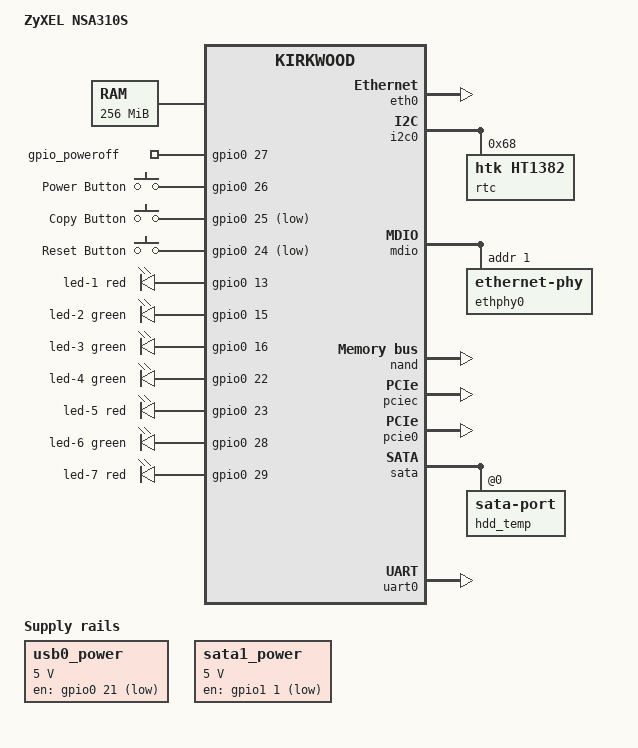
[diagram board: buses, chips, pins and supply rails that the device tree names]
// SPDX-License-Identifier: (GPL-2.0+ OR MIT)
/*
 * ZyXEL NSA310S Board Description
 * Copyright 2020-2022 Pawel Dembicki <paweldembicki@gmail.com>
 * Copyright (c) 2015-2021, Tony Dinh <mibodhi@gmail.com>
 * Copyright (c) 2014, Adam Baker <linux@baker-net.org.uk>
 * Based upon the board setup file created by Peter Schildmann
 */
/dts-v1/;

#include "kirkwood.dtsi"
#include "kirkwood-6281.dtsi"
#include <dt-bindings/leds/common.h>

/ {
	model = "ZyXEL NSA310S";
	compatible = "zyxel,nsa310s", "marvell,kirkwood-88f6702", "marvell,kirkwood";

	memory {
		device_type = "memory";
		reg = <0x00000000 0x10000000>;
	};

	chosen {
		bootargs = "console=ttyS0,115200n8 earlyprintk";
		stdout-path = &uart0;
	};

	gpio_poweroff {
		compatible = "gpio-poweroff";
		pinctrl-0 = <&pmx_pwr_off>;
		pinctrl-names = "default";
		gpios = <&gpio0 27 GPIO_ACTIVE_HIGH>;
	};

	keys {
		compatible = "gpio-keys";
		pinctrl-0 = <&pmx_buttons>;
		pinctrl-names = "default";

		button-power {
			label = "Power Button";
			linux,code = <KEY_POWER>;
			gpios = <&gpio0 26 GPIO_ACTIVE_HIGH>;
		};

		button-copy {
			label = "Copy Button";
			linux,code = <KEY_COPY>;
			gpios = <&gpio0 25 GPIO_ACTIVE_LOW>;
		};

		button-reset {
			label = "Reset Button";
			linux,code = <KEY_RESTART>;
			gpios = <&gpio0 24 GPIO_ACTIVE_LOW>;
		};
	};

	leds {
		compatible = "gpio-leds";
		pinctrl-0 = <&pmx_leds>;
		pinctrl-names = "default";

		led-1 {
			function = LED_FUNCTION_DISK_ERR;
			color = <LED_COLOR_ID_RED>;
			gpios = <&gpio0 13 GPIO_ACTIVE_HIGH>;
		};

		led-2 {
			function = LED_FUNCTION_USB;
			color = <LED_COLOR_ID_GREEN>;
			gpios = <&gpio0 15 GPIO_ACTIVE_HIGH>;
			linux,default-trigger = "usb-host";
		};

		led-3 {
			function = LED_FUNCTION_DISK;
			color = <LED_COLOR_ID_GREEN>;
			gpios = <&gpio0 16 GPIO_ACTIVE_HIGH>;
			linux,default-trigger = "ata1";
		};

		led-4 {
			function = LED_FUNCTION_INDICATOR;
			color = <LED_COLOR_ID_GREEN>;
			gpios = <&gpio0 22 GPIO_ACTIVE_HIGH>;
		};

		led-5 {
			function = LED_FUNCTION_INDICATOR;
			color = <LED_COLOR_ID_RED>;
			gpios = <&gpio0 23 GPIO_ACTIVE_HIGH>;
		};

		led-6 {
			function = LED_FUNCTION_STATUS;
			color = <LED_COLOR_ID_GREEN>;
			gpios = <&gpio0 28 GPIO_ACTIVE_HIGH>;
			linux,default-trigger = "default-on";
		};

		led-7 {
			function = LED_FUNCTION_STATUS;
			color = <LED_COLOR_ID_RED>;
			gpios = <&gpio0 29 GPIO_ACTIVE_HIGH>;
		};
	};

	usb0_power: regulator@1 {
		compatible = "regulator-fixed";
		regulator-name = "USB Power";

		regulator-min-microvolt = <5000000>;
		regulator-max-microvolt = <5000000>;
		regulator-always-on;
		regulator-boot-on;
		gpio = <&gpio0 21 GPIO_ACTIVE_HIGH>;
	};

	sata1_power: regulator@2 {
		compatible = "regulator-fixed";
		regulator-name = "SATA1 Power";

		regulator-min-microvolt = <5000000>;
		regulator-max-microvolt = <5000000>;
		regulator-always-on;
		regulator-boot-on;
		gpio = <&gpio1 1 GPIO_ACTIVE_HIGH>;
	};

	thermal-zones {
		disk-thermal {
			polling-delay = <20000>;
			polling-delay-passive = <2000>;

			thermal-sensors = <&hdd_temp>;

			trips {
				disk_alert: disk-alert {
					temperature = <40000>;
					hysteresis = <5000>;
					type = "active";
				};
				disk_crit: disk-crit {
					temperature = <60000>;
					hysteresis = <2000>;
					type = "critical";
				};
			};
		};
	};
};


&eth0 {
	status = "okay";

	ethernet0-port@0 {
		phy-handle = <&ethphy0>;
	};
};

&i2c0 {
	status = "okay";

	rtc@68 {
		compatible = "htk,ht1382";
		reg = <0x68>;
	};
};

&mdio {
	status = "okay";

	ethphy0: ethernet-phy@1 {
		reg = <1>;
		phy-mode = "rgmii-id";
		marvell,reg-init = <0x1 0x16 0x0 0x3>,
				   <0x1 0x10 0x0 0x1017>,
				   <0x1 0x11 0x0 0x4408>,
				   <0x1 0x16 0x0 0x0>;
	};
};

&nand {
	status = "okay";
	chip-delay = <35>;

	partition@0 {
		label = "uboot";
		reg = <0x0000000 0x00c0000>;
		read-only;
	};
	partition@c0000 {
		label = "uboot_env";
		reg = <0x00c0000 0x0080000>;
	};
	partition@140000 {
		label = "ubi";
		reg = <0x0140000 0x7ec0000>;
	};
};

&pciec {
	status = "okay";
};

&pcie0 {
	status = "okay";
};

&pinctrl {
	pinctrl-names = "default";

	pmx_buttons: pmx-buttons {
		marvell,pins = "mpp24", "mpp25", "mpp26";
		marvell,function = "gpio";
	};

	pmx_leds: pmx-leds {
		marvell,pins = "mpp13", "mpp15", "mpp16", "mpp22", "mpp23",
						"mpp28", "mpp29";
		marvell,function = "gpio";
	};

	pmx_power: pmx-power {
		marvell,pins = "mpp21", "mpp33";
		marvell,function = "gpio";
	};

	pmx_pwr_off: pmx-pwr-off {
		marvell,pins = "mpp27";
		marvell,function = "gpio";
	};
};

&rtc {
	status = "disabled";
};

&sata {
	status = "okay";
	nr-ports = <1>;
	#address-cells = <1>;
	#size-cells = <0>;

	hdd_temp: sata-port@0 {
		reg = <0>;
		#thermal-sensor-cells = <0>;
	};
};

&uart0 {
	status = "okay";
};
